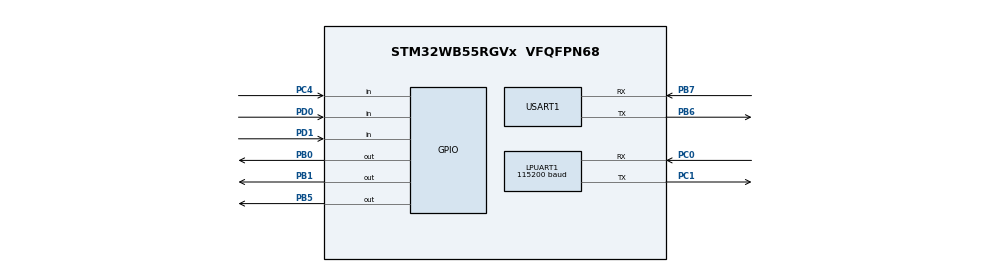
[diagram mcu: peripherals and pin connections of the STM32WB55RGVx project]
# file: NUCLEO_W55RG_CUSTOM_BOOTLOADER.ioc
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LPUART1.BaudRate=115200
Mcu.Family=STM32WB
Mcu.Name=STM32WB55RGVx
Mcu.Package=VFQFPN68
NUCLEO-WB55RG.BUTTON=1
NUCLEO-WB55RG.BUTTON2=1
NUCLEO-WB55RG.BUTTON3=1
NUCLEO-WB55RG.Bsp_Common_DEMO=true
NUCLEO-WB55RG.LD1=true
NUCLEO-WB55RG.LD2=true
NUCLEO-WB55RG.LD3=true
NVIC.PriorityGroup=NVIC_PRIORITYGROUP_4
OSC_IN.GPIO_Label=RCC_OSC_IN
OSC_IN.Signal=RCC_OSC_IN
OSC_OUT.GPIO_Label=RCC_OSC_OUT
OSC_OUT.Signal=RCC_OSC_OUT
PA11.GPIO_Label=USB_DM
PA11.Signal=USB_DM
PA12.GPIO_Label=USB_DP
PA12.Signal=USB_DP
PA13.GPIO_Label=JTMS
PA13.Signal=SYS_JTMS-SWDIO
PA14.GPIO_Label=JTCK
PA14.Signal=SYS_JTCK-SWCLK
PB0.Signal=GPIO_Output
PB1.Signal=GPIO_Output
PB3.GPIO_Label=JTDO
PB3.Signal=SYS_JTDO-SWO
PB5.Signal=GPIO_Output
PB6.Mode=Asynchronous
PB6.Signal=USART1_TX
PB7.Mode=Asynchronous
PB7.Signal=USART1_RX
PC0.Mode=Asynchronous
PC0.Signal=LPUART1_RX
PC1.Mode=Asynchronous
PC1.Signal=LPUART1_TX
PC13.GPIO_Label=SYS_WKUP2
PC13.Signal=SYS_WKUP2
PC14-OSC32_IN.GPIO_Label=RCC_OSC32_IN
PC14-OSC32_IN.Signal=RCC_OSC32_IN
PC15-OSC32_OUT.GPIO_Label=RCC_OSC32_OUT
PC15-OSC32_OUT.Signal=RCC_OSC32_OUT
PC4.Signal=GPIO_Input
PD0.Signal=GPIO_Input
PD1.Signal=GPIO_Input
ProjectManager.HeapSize=0x200
ProjectManager.StackSize=0x400
ProjectManager.TargetToolchain=STM32CubeIDE
RCC.ADCFreq_Value=128000000
RCC.AHBFreq_Value=32000000
RCC.APB1Freq_Value=32000000
RCC.APB1TimFreq_Value=32000000
RCC.APB2Freq_Value=32000000
RCC.APB2TimFreq_Value=32000000
RCC.APB3Freq_Value=16000000
RCC.CortexFreq_Value=32000000
RCC.HCLKFreq_Value=32000000
RCC.HSE_VALUE=32000000
RCC.HSI48_VALUE=48000000
RCC.HSI_VALUE=16000000
RCC.LSE_VALUE=32768
RCC.MSIClockRange=RCC_MSIRANGE_10
RCC.SMPSCLockSelection=RCC_SMPSCLKSOURCE_HSI
RCC.SMPSCLockSelectionVirtual=RCC_SMPSCLKSOURCE_HSI
RCC.SMPSCLockSelectionVirtualVirtual=RCC_SMPSCLKSOURCE_HSI
RCC.SMPSDivider=1
RCC.SYSCLKFreq_VALUE=32000000
RCC.USBFreq_Value=128000000
RCC.VCOOutputFreq_Value=256000000
USART1.VirtualMode-Asynchronous=VM_ASYNC
VP_MEMORYMAP_VS_MEMORYMAP.Mode=CurAppReg
VP_NUCLEO-WB55RG_VS_BSP_COMMON.Mode=COMMON
board=NUCLEO-WB55RG

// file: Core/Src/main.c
/* USER CODE BEGIN Header */
/**
 ******************************************************************************
 * @file           : main.c
 * @brief          : Main program body
 ******************************************************************************
 * @attention
 *
 * Copyright (c) 2025 STMicroelectronics.
 * All rights reserved.
 *
 * This software is licensed under terms that can be found in the LICENSE file
 * in the root directory of this software component.
 * If no LICENSE file comes with this software, it is provided AS-IS.
 *
 ******************************************************************************
 */
/* USER CODE END Header */
#include "main.h"

/* USER CODE BEGIN Includes */
#include <stdbool.h>
#include <stdio.h>
#include <string.h>
/* USER CODE END Includes */

/* USER CODE BEGIN PTD */
#define MAX_BLOCK_SIZE (4096) // 4KB
#define ETX_APP_START_ADDRESS 0x08010000
/* USER CODE END PTD */

/* USER CODE BEGIN PD */
#define MAJOR 2 // BL Major version Number
#define MINOR 0 // BL Minor version Number
/* USER CODE END PD */

static uint32_t delay = 250;
UART_HandleTypeDef hlpuart1; // for debuging
UART_HandleTypeDef
    huart1; // for data transfer, will be connected to the host pc

/* USER CODE BEGIN PV */
const uint8_t BL_Version[2] = {MAJOR, MINOR};
static uint32_t application_write_idx = 0; // Add this
static uint32_t application_size = 0;      // Add this
/* USER CODE END PV */

void SystemClock_Config(void);
void PeriphCommonClock_Config(void);
static void MX_GPIO_Init(void);
static void MX_USART1_UART_Init(void);
static void MX_LPUART1_UART_Init(void);
/* USER CODE BEGIN PFP */
static uint8_t is_application_valid(uint32_t app_addr);
static void goto_application(void);
static void Firmware_Update(void);
static int UART_Write_Loop(void);
static HAL_StatusTypeDef
write_data_to_flash_app(uint8_t *data, uint16_t data_len, bool is_first_block);
/* USER CODE END PFP */

/* Private user code
 * ---------------------------------------------------------*/

int main(void) {

  /* MCU
   * Configuration--------------------------------------------------------*/

  /* Reset of all peripherals, Initializes the Flash interface and the
   * Systick.
   */
  HAL_Init();

  /* Configure the system clock */
  SystemClock_Config();

  /* Configure the peripherals common clocks */
  PeriphCommonClock_Config();

  /* Initialize all configured peripherals */
  MX_GPIO_Init();
  MX_USART1_UART_Init();
  MX_LPUART1_UART_Init();
  /* USER CODE BEGIN 2 */
  printf("Custom Starting Bootloader(%d.%d)\r\n", BL_Version[0], BL_Version[1]);

  /* USER CODE END 2 */

  /* Initialize leds */
  BSP_LED_Init(LED_BLUE);
  BSP_LED_Init(LED_GREEN);
  BSP_LED_Init(LED_RED);

  /* Initialize USER push-button, will be used to trigger an interrupt each
   * time it's pressed.*/
  BSP_PB_Init(BUTTON_SW1, BUTTON_MODE_EXTI);
  BSP_PB_Init(BUTTON_SW2, BUTTON_MODE_EXTI);
  BSP_PB_Init(BUTTON_SW3, BUTTON_MODE_EXTI);

  /* USER CODE BEGIN BSP */
  for (uint8_t i = 0; i < 5; i++) {
    printf("%d\r\n", 4 - i);
    BSP_LED_Off(LED_RED);
    HAL_Delay(1500);
    BSP_LED_On(LED_RED);
    HAL_Delay(1500);
    BSP_LED_Off(LED_RED);
  }
  // check for firmware update:
  Firmware_Update();
  // Jump to application
  if (is_application_valid(0x08010000)) {
    BSP_LED_On(LED_GREEN);
    HAL_Delay(1500);
    goto_application();
  } else {
    printf("No valid application found, staying in bootloader\r\n");
    // Stay in bootloader mode
  }
  /* USER CODE END BSP */

  /* Infinite loop */
  /* USER CODE BEGIN WHILE */
  while (1) {

    /* -- Sample board code for User push-button in interrupt mode ---- */

    /* USER CODE END WHILE */

  }
}

void SystemClock_Config(void) {
  RCC_OscInitTypeDef RCC_OscInitStruct = {0};
  RCC_ClkInitTypeDef RCC_ClkInitStruct = {0};

  /** Configure the main internal regulator output voltage
   */
  __HAL_PWR_VOLTAGESCALING_CONFIG(PWR_REGULATOR_VOLTAGE_SCALE1);

  /** Initializes the RCC Oscillators according to the specified parameters
   * in the RCC_OscInitTypeDef structure.
   */
  RCC_OscInitStruct.OscillatorType =
      RCC_OSCILLATORTYPE_HSI | RCC_OSCILLATORTYPE_MSI;
  RCC_OscInitStruct.HSIState = RCC_HSI_ON;
  RCC_OscInitStruct.MSIState = RCC_MSI_ON;
  RCC_OscInitStruct.HSICalibrationValue = RCC_HSICALIBRATION_DEFAULT;
  RCC_OscInitStruct.MSICalibrationValue = RCC_MSICALIBRATION_DEFAULT;
  RCC_OscInitStruct.MSIClockRange = RCC_MSIRANGE_10;
  RCC_OscInitStruct.PLL.PLLState = RCC_PLL_NONE;
  if (HAL_RCC_OscConfig(&RCC_OscInitStruct) != HAL_OK) {
    Error_Handler();
  }

  /** Configure the SYSCLKSource, HCLK, PCLK1 and PCLK2 clocks dividers
   */
  RCC_ClkInitStruct.ClockType = RCC_CLOCKTYPE_HCLK4 | RCC_CLOCKTYPE_HCLK2 |
                                RCC_CLOCKTYPE_HCLK | RCC_CLOCKTYPE_SYSCLK |
                                RCC_CLOCKTYPE_PCLK1 | RCC_CLOCKTYPE_PCLK2;
  RCC_ClkInitStruct.SYSCLKSource = RCC_SYSCLKSOURCE_MSI;
  RCC_ClkInitStruct.AHBCLKDivider = RCC_SYSCLK_DIV1;
  RCC_ClkInitStruct.APB1CLKDivider = RCC_HCLK_DIV1;
  RCC_ClkInitStruct.APB2CLKDivider = RCC_HCLK_DIV1;
  RCC_ClkInitStruct.AHBCLK2Divider = RCC_SYSCLK_DIV1;
  RCC_ClkInitStruct.AHBCLK4Divider = RCC_SYSCLK_DIV1;

  if (HAL_RCC_ClockConfig(&RCC_ClkInitStruct, FLASH_LATENCY_1) != HAL_OK) {
    Error_Handler();
  }
}

void PeriphCommonClock_Config(void) {
  RCC_PeriphCLKInitTypeDef PeriphClkInitStruct = {0};

  /** Initializes the peripherals clock
   */
  PeriphClkInitStruct.PeriphClockSelection = RCC_PERIPHCLK_SMPS;
  PeriphClkInitStruct.SmpsClockSelection = RCC_SMPSCLKSOURCE_HSI;
  PeriphClkInitStruct.SmpsDivSelection = RCC_SMPSCLKDIV_RANGE0;

  if (HAL_RCCEx_PeriphCLKConfig(&PeriphClkInitStruct) != HAL_OK) {
    Error_Handler();
  }
}

static void MX_LPUART1_UART_Init(void) {

  hlpuart1.Instance = LPUART1;
  hlpuart1.Init.BaudRate = 115200;
  hlpuart1.Init.WordLength = UART_WORDLENGTH_8B;
  hlpuart1.Init.StopBits = UART_STOPBITS_1;
  hlpuart1.Init.Parity = UART_PARITY_NONE;
  hlpuart1.Init.Mode = UART_MODE_TX_RX;
  hlpuart1.Init.HwFlowCtl = UART_HWCONTROL_NONE;
  hlpuart1.Init.OneBitSampling = UART_ONE_BIT_SAMPLE_DISABLE;
  hlpuart1.Init.ClockPrescaler = UART_PRESCALER_DIV1;
  hlpuart1.AdvancedInit.AdvFeatureInit = UART_ADVFEATURE_NO_INIT;
  hlpuart1.FifoMode = UART_FIFOMODE_DISABLE;
  if (HAL_UART_Init(&hlpuart1) != HAL_OK) {
    Error_Handler();
  }
  if (HAL_UARTEx_SetTxFifoThreshold(&hlpuart1, UART_TXFIFO_THRESHOLD_1_8) !=
      HAL_OK) {
    Error_Handler();
  }
  if (HAL_UARTEx_SetRxFifoThreshold(&hlpuart1, UART_RXFIFO_THRESHOLD_1_8) !=
      HAL_OK) {
    Error_Handler();
  }
  if (HAL_UARTEx_DisableFifoMode(&hlpuart1) != HAL_OK) {
    Error_Handler();
  }
}

static void MX_USART1_UART_Init(void) {

  huart1.Instance = USART1;
  huart1.Init.BaudRate = 115200;
  huart1.Init.WordLength = UART_WORDLENGTH_8B;
  huart1.Init.StopBits = UART_STOPBITS_1;
  huart1.Init.Parity = UART_PARITY_NONE;
  huart1.Init.Mode = UART_MODE_TX_RX;
  huart1.Init.HwFlowCtl = UART_HWCONTROL_NONE;
  huart1.Init.OverSampling = UART_OVERSAMPLING_16;
  huart1.Init.OneBitSampling = UART_ONE_BIT_SAMPLE_DISABLE;
  huart1.Init.ClockPrescaler = UART_PRESCALER_DIV1;
  huart1.AdvancedInit.AdvFeatureInit = UART_ADVFEATURE_NO_INIT;
  if (HAL_UART_Init(&huart1) != HAL_OK) {
    Error_Handler();
  }
  if (HAL_UARTEx_SetTxFifoThreshold(&huart1, UART_TXFIFO_THRESHOLD_1_8) !=
      HAL_OK) {
    Error_Handler();
  }
  if (HAL_UARTEx_SetRxFifoThreshold(&huart1, UART_RXFIFO_THRESHOLD_1_8) !=
      HAL_OK) {
    Error_Handler();
  }
  if (HAL_UARTEx_DisableFifoMode(&huart1) != HAL_OK) {
    Error_Handler();
  }
}

static void MX_GPIO_Init(void) {
  GPIO_InitTypeDef GPIO_InitStruct = {0};

  /* GPIO Ports Clock Enable */
  __HAL_RCC_GPIOC_CLK_ENABLE();
  __HAL_RCC_GPIOA_CLK_ENABLE();
  __HAL_RCC_GPIOB_CLK_ENABLE();

  /*Configure GPIO pins : USB_DM_Pin USB_DP_Pin */
  GPIO_InitStruct.Pin = USB_DM_Pin | USB_DP_Pin;
  GPIO_InitStruct.Mode = GPIO_MODE_AF_PP;
  GPIO_InitStruct.Pull = GPIO_NOPULL;
  GPIO_InitStruct.Speed = GPIO_SPEED_FREQ_LOW;
  GPIO_InitStruct.Alternate = GPIO_AF10_USB;
  HAL_GPIO_Init(GPIOA, &GPIO_InitStruct);

}

/* USER CODE BEGIN 4 */
#ifdef __GNUC__
/* With GCC, small printf (option LD Linker->Libraries->Small printf
   set to 'Yes') calls __io_putchar() */
int __io_putchar(int ch)
#else
int fputc(int ch, FILE *f)
#endif /* __GNUC__ */
{
  /* Place your implementation of fputc here */
  /* e.g. write a character to the UART1 and Loop until the end of
   * transmission
   */
  HAL_UART_Transmit(&hlpuart1, (uint8_t *)&ch, 1, HAL_MAX_DELAY);
  return ch;
}

static int UART_Write_Loop(void) {
  char tx = 'g';
  char rx = '0';
  HAL_StatusTypeDef ex;
  int ret = 0;
  int count = 0;
  while (1) {
    // Toggle GPIO
    BSP_LED_Toggle(LED_GREEN);
    HAL_UART_Transmit(&huart1, (uint8_t *)&tx, 1, HAL_MAX_DELAY);
    ex = HAL_UART_Receive(&huart1, (uint8_t *)&rx, 1, 10);
    if ((ex == HAL_OK) && (rx == 'r')) {
      // received data
      printf("Firmware Update Started\r\n");
      ret = 1;
      break;
    }
    if (count == 100) {
      // received nothing
      printf("No Data Received for Firmware Update\r\n");
      break;
    }
    count++;
    HAL_Delay(20); // 20ms delay
  }
  return ret;
}

/**
 * @brief Write data to the Application's actual flash location.
 * @param data data to be written
 * @param data_len data length
 * @is_first_block true - if this is first block, false - not first block
 * @retval HAL_StatusTypeDef
 */
static HAL_StatusTypeDef
write_data_to_flash_app(uint8_t *data, uint16_t data_len, bool is_first_block) {
  HAL_StatusTypeDef ret;
  do {
    ret = HAL_FLASH_Unlock();
    if (ret != HAL_OK) {
      break;
    }

    if (is_first_block) {
      printf("Erasing the Flash memory...\r\n");
      FLASH_EraseInitTypeDef EraseInitStruct;
      uint32_t PageError;

      EraseInitStruct.TypeErase = FLASH_TYPEERASE_PAGES;
      // Calculate page number from address
      EraseInitStruct.Page =
          (ETX_APP_START_ADDRESS - FLASH_BASE) / FLASH_PAGE_SIZE;
      EraseInitStruct.NbPages = 33;

      ret = HAL_FLASHEx_Erase(&EraseInitStruct, &PageError);
      if (ret != HAL_OK) {
        printf("Flash Erase Error: PageError = %lu\r\n", PageError);
        break;
      }
      application_write_idx = 0;
    }

    // STM32WB uses 64-bit (doubleword) programming
    for (int i = 0; i < data_len / 8; i++) {
      uint64_t doubleword_data = 0;
      for (int j = 0; j < 8; j++) {
        doubleword_data |= ((uint64_t)data[i * 8 + j] << (j * 8));
      }

      ret = HAL_FLASH_Program(FLASH_TYPEPROGRAM_DOUBLEWORD,
                              (ETX_APP_START_ADDRESS + application_write_idx),
                              doubleword_data);
      if (ret == HAL_OK) {
        application_write_idx += 8;
      } else {
        printf("Flash Write Error...HALT!!!\r\n");
        break;
      }
    }

    // Handle remaining bytes (if data_len is not multiple of 8)
    int remaining = data_len % 8;
    if (remaining > 0 && ret == HAL_OK) {
      uint64_t doubleword_data = 0;
      for (int j = 0; j < remaining; j++) {
        doubleword_data |= ((uint64_t)data[(data_len / 8) * 8 + j] << (j * 8));
      }
      ret = HAL_FLASH_Program(FLASH_TYPEPROGRAM_DOUBLEWORD,
                              (ETX_APP_START_ADDRESS + application_write_idx),
                              doubleword_data);
      if (ret == HAL_OK) {
        application_write_idx += 8;
      }
    }

    if (ret != HAL_OK) {
      break;
    }
    ret = HAL_FLASH_Lock();
    if (ret != HAL_OK) {
      break;
    }
  } while (false);
  return ret;
}
/**
 * @brief Check for Firmware Update and update the Firmware
 * @retval None
 */
static void Firmware_Update(void) {
  uint8_t xx, yy;
  uint8_t x = 'x';
  uint8_t y = 'y';
  HAL_StatusTypeDef ex = HAL_OK;
  uint16_t current_app_size = 0;
  uint16_t i = 0;
  uint8_t block[MAX_BLOCK_SIZE] = {0};
  do {
    if (UART_Write_Loop() != 0) {
      // Sender is ready. Receive the Firmware Size
      //  Ask yy
      HAL_UART_Transmit(&huart1, &y, 1, HAL_MAX_DELAY);
      ex = HAL_UART_Receive(&huart1, &yy, 1, 5000);
      if (ex != HAL_OK) {
        printf("Get application Size error (yy)...HALT!!!\r\n");
        break;
      }
      // Ask xx
      HAL_UART_Transmit(&huart1, &x, 1, HAL_MAX_DELAY);
      ex = HAL_UART_Receive(&huart1, &xx, 1, 5000);
      if (ex != HAL_OK) {
        printf("Get application Size error(XX)...HALT!!!\r\n");
        break;
      }
      application_size = yy | (xx << 8);
      printf("Application Size = %d bytes\r\n", application_size);
      while (1) {
        if ((i == MAX_BLOCK_SIZE) || (current_app_size >= application_size)) {
          printf("Received Block[%d]\r\n", current_app_size / MAX_BLOCK_SIZE);
          // write to flash
          ex = write_data_to_flash_app(block, MAX_BLOCK_SIZE,
                                       (current_app_size <= MAX_BLOCK_SIZE));
          if (ex != HAL_OK) {
            break;
          }
          // clear the memory
          memset(block, 0, MAX_BLOCK_SIZE);
          i = 0;
        }
        if (current_app_size >= application_size) {
          // received all data. exit
          ex = HAL_OK;
          break;
        }
        // Ask yy
        HAL_UART_Transmit(&huart1, &y, 1, HAL_MAX_DELAY);
        ex = HAL_UART_Receive(&huart1, &yy, 1, 5000);
        if (ex != HAL_OK) {
          printf("Get application data[index:%d] error (yy)...HALT!!!\r\n", i);
          break;
        }
        // Ask xx
        HAL_UART_Transmit(&huart1, &x, 1, HAL_MAX_DELAY);
        ex = HAL_UART_Receive(&huart1, &xx, 1, 5000);
        if (ex != HAL_OK) {
          printf("Get application data[index:%d] error(XX)...HALT!!!\r\n", i);
          break;
        }
        //--- Save xxyy in block[i]
        block[i++] = yy;
        block[i++] = xx;
        current_app_size += 2;
      }
    }
  } while (false);
  if (ex != HAL_OK) {
    while (1)
      ;
  }
}

// check if application valide
static uint8_t is_application_valid(uint32_t app_addr) {
  uint32_t stack_ptr = *(volatile uint32_t *)app_addr;
  uint32_t reset_handler = *(volatile uint32_t *)(app_addr + 4);

  // Check if stack pointer is in RAM range
  if ((stack_ptr & 0xFFE00000) != 0x20000000) {
    return 0;
  }

  // Check if reset handler is in application flash range and is thumb code
  if (((reset_handler & 0xFFF00000) != 0x08000000) || !(reset_handler & 0x1)) {
    return 0;
  }
  return 1;
}
static void goto_application(void) {
  printf("Gonna Jump to Application\n");
  void (*app_reset_handler)(void) =
      (void *)(*((volatile uint32_t *)(0x08010000 + 4U)));
  //__set_MSP(*(volatile uint32_t*) 0x08010000);
  // Turn OFF the Green Led to tell the user that Bootloader is not running
  // Green LED OFF
  BSP_LED_Off(LED_GREEN);
  //  /* Reset the Clock */
  //  HAL_RCC_DeInit();
  //  HAL_DeInit();
  //  //__set_MSP(*(volatile uint32_t*) 0x08010000);
  //  SysTick->CTRL = 0;
  //  SysTick->LOAD = 0;
  //  SysTick->VAL = 0;
  /* Jump to application */
  app_reset_handler(); // call the app reset handler
}

/* USER CODE END 4 */

/**
 * @brief EXTI line detection callback.
 * @param GPIO_Pin: Specifies the pins connected EXTI line
 * @retval None
 */
void HAL_GPIO_EXTI_Callback(uint16_t GPIO_Pin) {
  switch (GPIO_Pin) {
  case BUTTON_SW1_PIN:
    /* Change the period to 100 ms */
    delay = 100;
    break;
  case BUTTON_SW2_PIN:
    /* Change the period to 500 ms */
    delay = 500;
    break;
  case BUTTON_SW3_PIN:
    /* Change the period to 1000 ms */
    delay = 1000;
    break;
  default:
    break;
  }
}

void Error_Handler(void) {
  /* USER CODE BEGIN Error_Handler_Debug */
  /* User can add his own implementation to report the HAL error return state
   */
  __disable_irq();
  while (1) {
  }
  /* USER CODE END Error_Handler_Debug */
}
#ifdef USE_FULL_ASSERT
/**
 * @brief  Reports the name of the source file and the source line number
 *         where the assert_param error has occurred.
 * @param  file: pointer to the source file name
 * @param  line: assert_param error line source number
 * @retval None
 */
void assert_failed(uint8_t *file, uint32_t line) {
  /* USER CODE BEGIN 6 */
  /* User can add his own implementation to report the file name and line
     number, ex: printf("Wrong parameters value: file %s on line %d\r\n",
     file, line) */
  /* USER CODE END 6 */
}
#endif /* USE_FULL_ASSERT */
